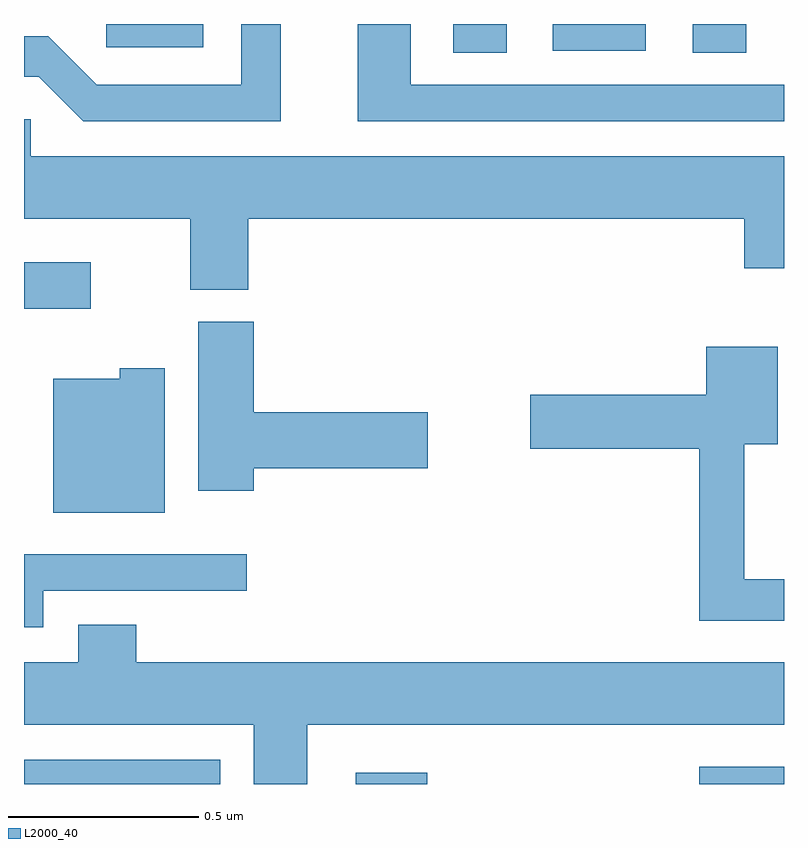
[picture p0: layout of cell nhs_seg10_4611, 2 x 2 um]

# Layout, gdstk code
import gdstk
lib = gdstk.Library(unit=1e-6, precision=1e-09)
def R(c, l, rs):  # rectangles x0, y0, x1, y1
    for r in rs: c.add(gdstk.rectangle(r[:2], r[2:], *l))
def P(c, l, *ps):  # polygons
    for p in ps: c.add(gdstk.Polygon(p, *l))
L2000_40 = (2000, 40)

nhs_seg10_4611 = lib.new_cell('nhs_seg10_4611')
R(nhs_seg10_4611, L2000_40, [(168,1293.5,168.516,1293.564), (168.873,1293.5,169.061,1293.529), (169.777,1293.5,170,1293.546), (168,1294.751,168.175,1294.873), (169.13,1295.425,169.27,1295.5), (169.76,1295.425,169.9,1295.5), (169.392,1295.43,169.636,1295.5), (168.216,1295.439,168.472,1295.5)])
P(nhs_seg10_4611, L2000_40, [(168.676,1295.5),(168.572,1295.5),(168.572,1295.34),(168.192,1295.34),(168.064,1295.468),(168,1295.468),(168,1295.361),(168.039,1295.361),(168.156,1295.244),(168.676,1295.244)],
  [(170,1295.34),(169.018,1295.34),(169.018,1295.5),(168.878,1295.5),(168.878,1295.244),(170,1295.244)],
  [(168.59,1294.988),(169.895,1294.988),(169.895,1294.857),(170,1294.857),(170,1295.152),(168.018,1295.152),(168.018,1295.25),(168,1295.25),(168,1294.988),(168.437,1294.988),(168.437,1294.801),(168.59,1294.801)],
  [(168.605,1294.331),(169.063,1294.331),(169.063,1294.478),(168.605,1294.478),(168.605,1294.716),(168.458,1294.716),(168.458,1294.272),(168.605,1294.272)],
  [(170,1294.039),(169.895,1294.039),(169.895,1294.394),(169.984,1294.394),(169.984,1294.651),(169.796,1294.651),(169.796,1294.524),(169.332,1294.524),(169.332,1294.382),(169.777,1294.382),(169.777,1293.93),(170,1293.93)],
  [(168.37,1294.594),(168.252,1294.594),(168.252,1294.567),(168.077,1294.567),(168.077,1294.214),(168.37,1294.214)],
  [(168.051,1294.008),(168.586,1294.008),(168.586,1294.104),(168,1294.104),(168,1293.912),(168.051,1293.912)],
  [(168.745,1293.656),(170,1293.656),(170,1293.82),(168.296,1293.82),(168.296,1293.919),(168.143,1293.919),(168.143,1293.82),(168,1293.82),(168,1293.656),(168.605,1293.656),(168.605,1293.5),(168.745,1293.5)])

lib.write_gds('nhs_seg10_4611.gds')
